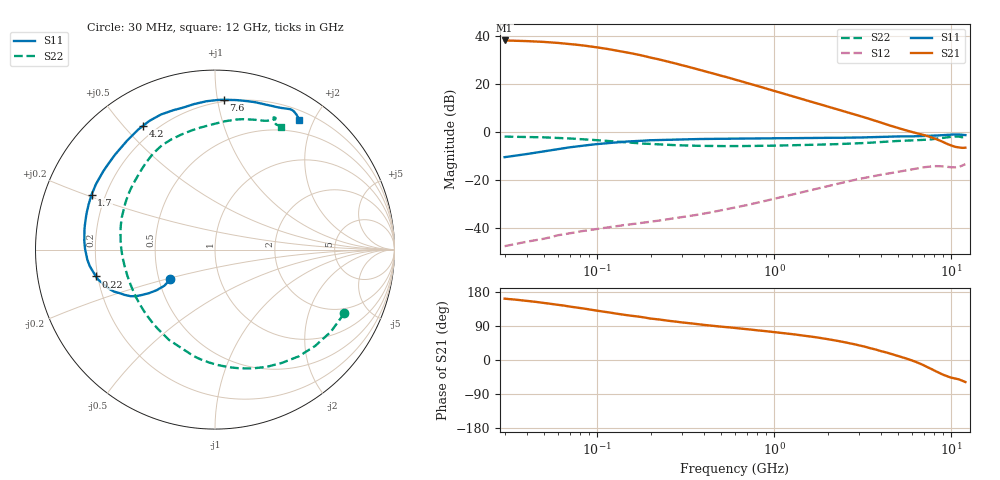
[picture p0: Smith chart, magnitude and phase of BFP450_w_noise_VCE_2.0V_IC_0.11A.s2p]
! Infineon Technologies  Discrete & RF Semiconductors
! BFP450
! VCE =  2.0 V,  IC = 0.11 A
! Common Emitter S-Parameters:  Nov 2015
# GHz  S  MA  R  50
!  f  S11  S21  S12  S22
! GHz  MAG  ANG  MAG  ANG  MAG  ANG  MAG  ANG
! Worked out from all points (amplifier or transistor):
!   239 points, 30 MHz to 12 GHz, reference 50 ohm
!   highest |S21| = 38.1 dB at 30 MHz (marker M1)
!   |S21| within 3 dB of that: start of sweep to 102.5 MHz
!   unconditionally stable (mu >= 1): 830.2 MHz to end of sweep
!   at 300 MHz: K = 0.74, MSG = 31.7 dB, |S12| = -35.5 dB
!   at 1.88 GHz: K = 1.09, MAG = 15.2 dB, |S12| = -23.0 dB
!   at 12 GHz: K = 1.08, MAG = 1.7 dB, |S12| = -13.4 dB
!   lowest NFmin = 2.22 dB at 450 MHz
!   S11 on the Smith chart (normalised r, x): 30 MHz: 0.57, -0.21; 220 MHz: 0.19, -0.11; 1.7 GHz: 0.15, +0.21; 4.2 GHz: 0.15, +0.56; 7.6 GHz: 0.19, +1.04; 12 GHz: 0.32, +1.80
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0.03  0.2993 -146.2  80.55 161.9  0.0042 81.5  0.803 -26.3
0.04  0.3476 -144.5  78.1 156.1  0.0052 75.7  0.7913 -35.3
0.05  0.3972 -145.2  75.11 150.6  0.006 72.4  0.7743 -43.9
0.06  0.4414 -146.6  71.54 145.9  0.0071 68.9  0.7557 -51.9
0.07  0.4801 -148.2  67.92 141.0  0.0078 65.3  0.7335 -59.3
0.085  0.5243 -150.3  62.72 135.4  0.0088 62.5  0.703 -69.3
0.1  0.5612 -153.2  57.78 130.1  0.0096 60.1  0.6755 -78.3
0.13  0.6099 -157.5  49.31 121.9  0.011 56.8  0.6296 -93.1
0.15  0.6362 -160.6  44.59 117.6  0.0118 56.1  0.6057 -101.2
0.2  0.6738 -165.8  35.4 109.3  0.0136 55.4  0.5648 -117.0
0.22  0.6802 -167.3  32.9 107.3  0.0142 55.5  0.5527 -121.4
0.24  0.687 -168.9  30.44 104.9  0.0149 55.6  0.544 -126.0
0.3  0.7042 -172.6  24.64 99.2  0.0168 56.6  0.5269 -136.8
0.36  0.7133 -175.4  20.74 95.2  0.0187 57.9  0.5174 -144.4
0.6  0.7295 176.7  12.32 84.3  0.0267 61.1  0.5095 -162.9
1  0.7389 168.1  7.15 73.6  0.0407 61.4  0.5199 -178.4
1.64  0.7515 157.0  4.207 61.3  0.0629 56.7  0.5406 166.4
1.7  0.753 156.0  4.045 60.3  0.0649 56.1  0.5427 165.1
4.2  0.7976 120.3  1.485 21.1  0.1326 27.2  0.6257 125.9
4.5  0.8049 117.0  1.365 17.0  0.1386 24.2  0.6375 122.5
7.6  0.8365 86.6  0.788 -22.4  0.1915 -9.2  0.7001 90.4
12  0.8627 57.0  0.471 -58.1  0.2134 -41.1  0.7775 61.7
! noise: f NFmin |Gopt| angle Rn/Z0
0.45  2.22  0.65  -171  0.07
0.9  2.28  0.68  -165  0.09
1.9  2.37  0.69  -149  0.17
2.4  2.45  0.69  -140  0.26
